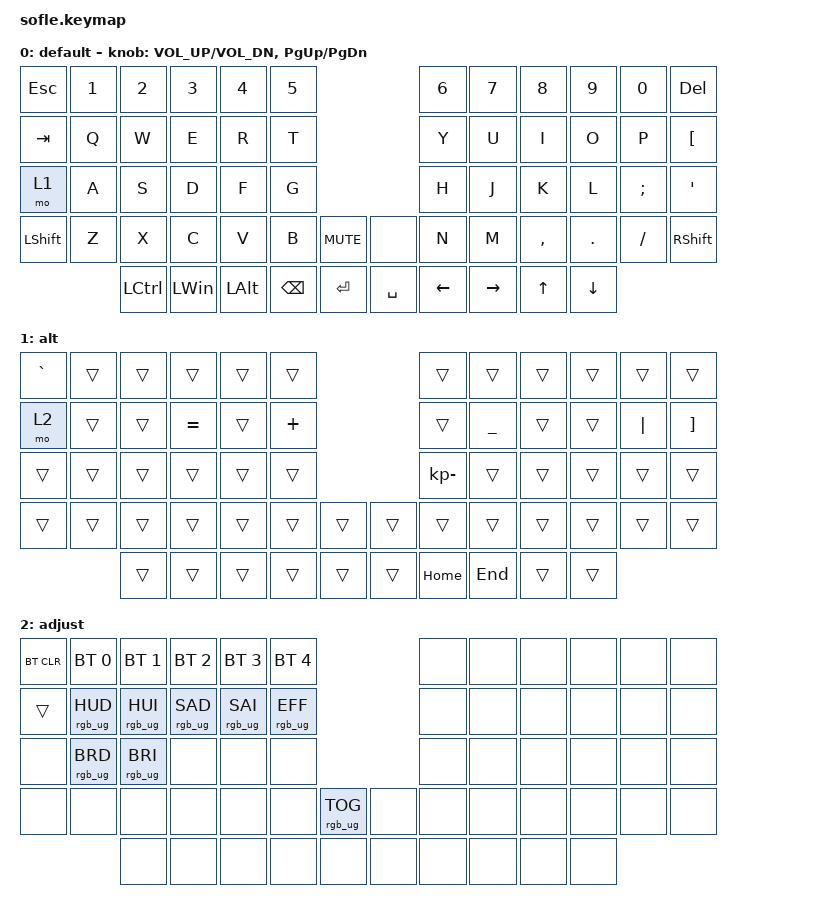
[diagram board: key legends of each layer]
/*
 * Copyright (c) 2020 The ZMK Contributors
 *
 * SPDX-License-Identifier: MIT
 */

#include <behaviors.dtsi>
#include <dt-bindings/zmk/bt.h>
#include <dt-bindings/zmk/keys.h>
#include <dt-bindings/zmk/rgb.h>

#define BASE 0
#define LOWER 1
#define RAISE 2
#define ADJUST 3

/ {
    // Activate ADJUST layer by pressing raise and lower

    conditional_layers { compatible = "zmk,conditional-layers"; };

    keymap {
        compatible = "zmk,keymap";

        default_layer {
            label = "default";

            // ------------------------------------------------------------------------------------------------------------
            // |   `   |  1  |  2  |  3   |  4   |  5   |                   |  6   |  7    |  8    |  9   |   0   |       |
            // |  ESC  |  Q  |  W  |  E   |  R   |  T   |                   |  Y   |  U    |  I    |  O   |   P   | BKSPC |
            // |  TAB  |  A  |  S  |  D   |  F   |  G   |                   |  H   |  J    |  K    |  L   |   ;   |   '   |
            // | SHIFT |  Z  |  X  |  C   |  V   |  B   |  MUTE  |  |       |  N   |  M    |  ,    |  .   |   /   | SHIFT |
            //               | GUI | ALT  | CTRL | LOWER|  ENTER |  | SPACE | RAISE| CTRL  | ALT   | GUI  |

            bindings = <
&kp ESC    &kp N1  &kp N2     &kp N3        &kp N4    &kp N5                                  &kp N6          &kp N7           &kp N8        &kp N9          &kp N0    &kp DELETE
&kp TAB    &kp Q   &kp W      &kp E         &kp R     &kp T                                   &kp Y           &kp U            &kp I         &kp O           &kp P     &kp LEFT_BRACKET
&mo 1      &kp A   &kp S      &kp D         &kp F     &kp G                                   &kp H           &kp J            &kp K         &kp L           &kp SEMI  &kp SQT
&kp LSHFT  &kp Z   &kp X      &kp C         &kp V     &kp B          &kp C_MUTE    &none      &kp N           &kp M            &kp COMMA     &kp DOT         &kp FSLH  &kp RSHFT
                   &kp LCTRL  &kp LEFT_WIN  &kp LALT  &kp BACKSPACE  &kp RET       &kp SPACE  &kp LEFT_ARROW  &kp RIGHT_ARROW  &kp UP_ARROW  &kp DOWN_ARROW
            >;

            sensor-bindings = <&inc_dec_kp C_VOL_UP C_VOL_DN &inc_dec_kp PG_UP PG_DN>;
        };

        alt {
            bindings = <
&kp GRAVE  &trans  &trans  &trans     &trans  &trans                      &trans        &trans          &trans  &trans  &trans    &trans
&mo 2      &trans  &trans  &kp EQUAL  &trans  &kp PLUS                    &trans        &kp UNDERSCORE  &trans  &trans  &kp PIPE  &kp RIGHT_BRACKET
&trans     &trans  &trans  &trans     &trans  &trans                      &kp KP_MINUS  &trans          &trans  &trans  &trans    &trans
&trans     &trans  &trans  &trans     &trans  &trans    &trans    &trans  &trans        &trans          &trans  &trans  &trans    &trans
                   &trans  &trans     &trans  &trans    &trans    &trans  &kp HOME      &kp END         &trans  &trans
            >;

            label = "alt";
        };

        adjust_layer {
            // ----------------------------------------------------------------------------------------------------------------------------
            // | BTCLR  |  BT1    |  BT2    |   BT3   |   BT4   |   BT5   |                  |      |      |       |      |       |       |
            // | EXTPWR | RGB_HUD | RGB_HUI | RGB_SAD | RGB_SAI | RGB_EFF |                  |      |      |       |      |       |       |
            // |        | RGB_BRD | RGB_BRI |         |         |         |                  |      |      |       |      |       |       |
            // |        |         |         |         |         |         | RGB_TOG | |      |      |      |       |      |       |       |
            //                    |         |         |         |         |         | |      |      |      |       |      |

            label = "adjust";
            bindings = <
&bt BT_CLR  &bt BT_SEL 0     &bt BT_SEL 1     &bt BT_SEL 2     &bt BT_SEL 3     &bt BT_SEL 4                               &none  &none  &none  &none  &none  &none
&trans      &rgb_ug RGB_HUD  &rgb_ug RGB_HUI  &rgb_ug RGB_SAD  &rgb_ug RGB_SAI  &rgb_ug RGB_EFF                            &none  &none  &none  &none  &none  &none
&none       &rgb_ug RGB_BRD  &rgb_ug RGB_BRI  &none            &none            &none                                      &none  &none  &none  &none  &none  &none
&none       &none            &none            &none            &none            &none            &rgb_ug RGB_TOG    &none  &none  &none  &none  &none  &none  &none
                             &none            &none            &none            &none            &none              &none  &none  &none  &none  &none
            >;
        };
    };
};
